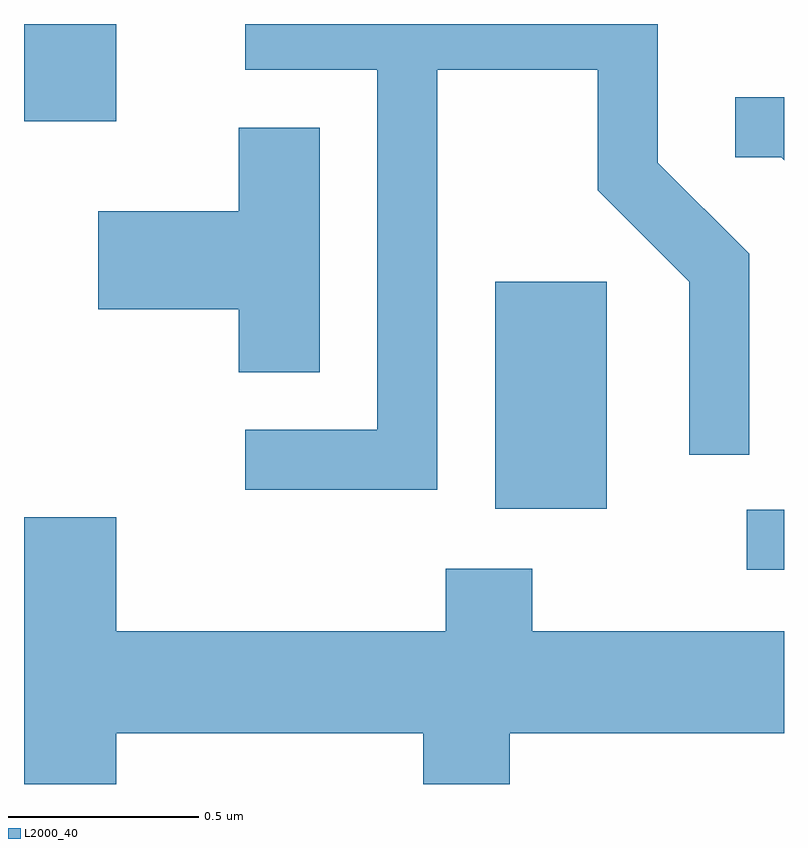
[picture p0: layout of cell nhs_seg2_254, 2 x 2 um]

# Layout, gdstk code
import gdstk
lib = gdstk.Library(unit=1e-6, precision=1e-09)
def R(c, l, rs):  # rectangles x0, y0, x1, y1
    for r in rs: c.add(gdstk.rectangle(r[:2], r[2:], *l))
def P(c, l, *ps):  # polygons
    for p in ps: c.add(gdstk.Polygon(p, *l))
L2000_40 = (2000, 40)

nhs_seg2_254 = lib.new_cell('nhs_seg2_254')
R(nhs_seg2_254, L2000_40, [(188.513,1095.366,188.611,1095.524), (187.851,1095.526,188.144,1096.124), (186.611,1096.546,186.854,1096.802)])
P(nhs_seg2_254, L2000_40, [(187.699,1096.681),(188.121,1096.681),(188.121,1096.364),(188.361,1096.124),(188.361,1095.668),(188.519,1095.668),(188.519,1096.197),(188.279,1096.437),(188.279,1096.802),(187.193,1096.802),(187.193,1096.681),(187.541,1096.681),(187.541,1095.734),(187.193,1095.734),(187.193,1095.576),(187.699,1095.576)],
  [(188.611,1096.609),(188.483,1096.609),(188.483,1096.451),(188.604,1096.451),(188.611,1096.444)],
  [(187.389,1096.529),(187.176,1096.529),(187.176,1096.309),(186.806,1096.309),(186.806,1096.051),(187.176,1096.051),(187.176,1095.886),(187.389,1095.886)],
  [(186.854,1094.936),(187.661,1094.936),(187.661,1094.802),(187.889,1094.802),(187.889,1094.936),(188.611,1094.936),(188.611,1095.204),(187.949,1095.204),(187.949,1095.369),(187.721,1095.369),(187.721,1095.204),(186.854,1095.204),(186.854,1095.504),(186.611,1095.504),(186.611,1094.802),(186.854,1094.802)])

lib.write_gds('nhs_seg2_254.gds')
